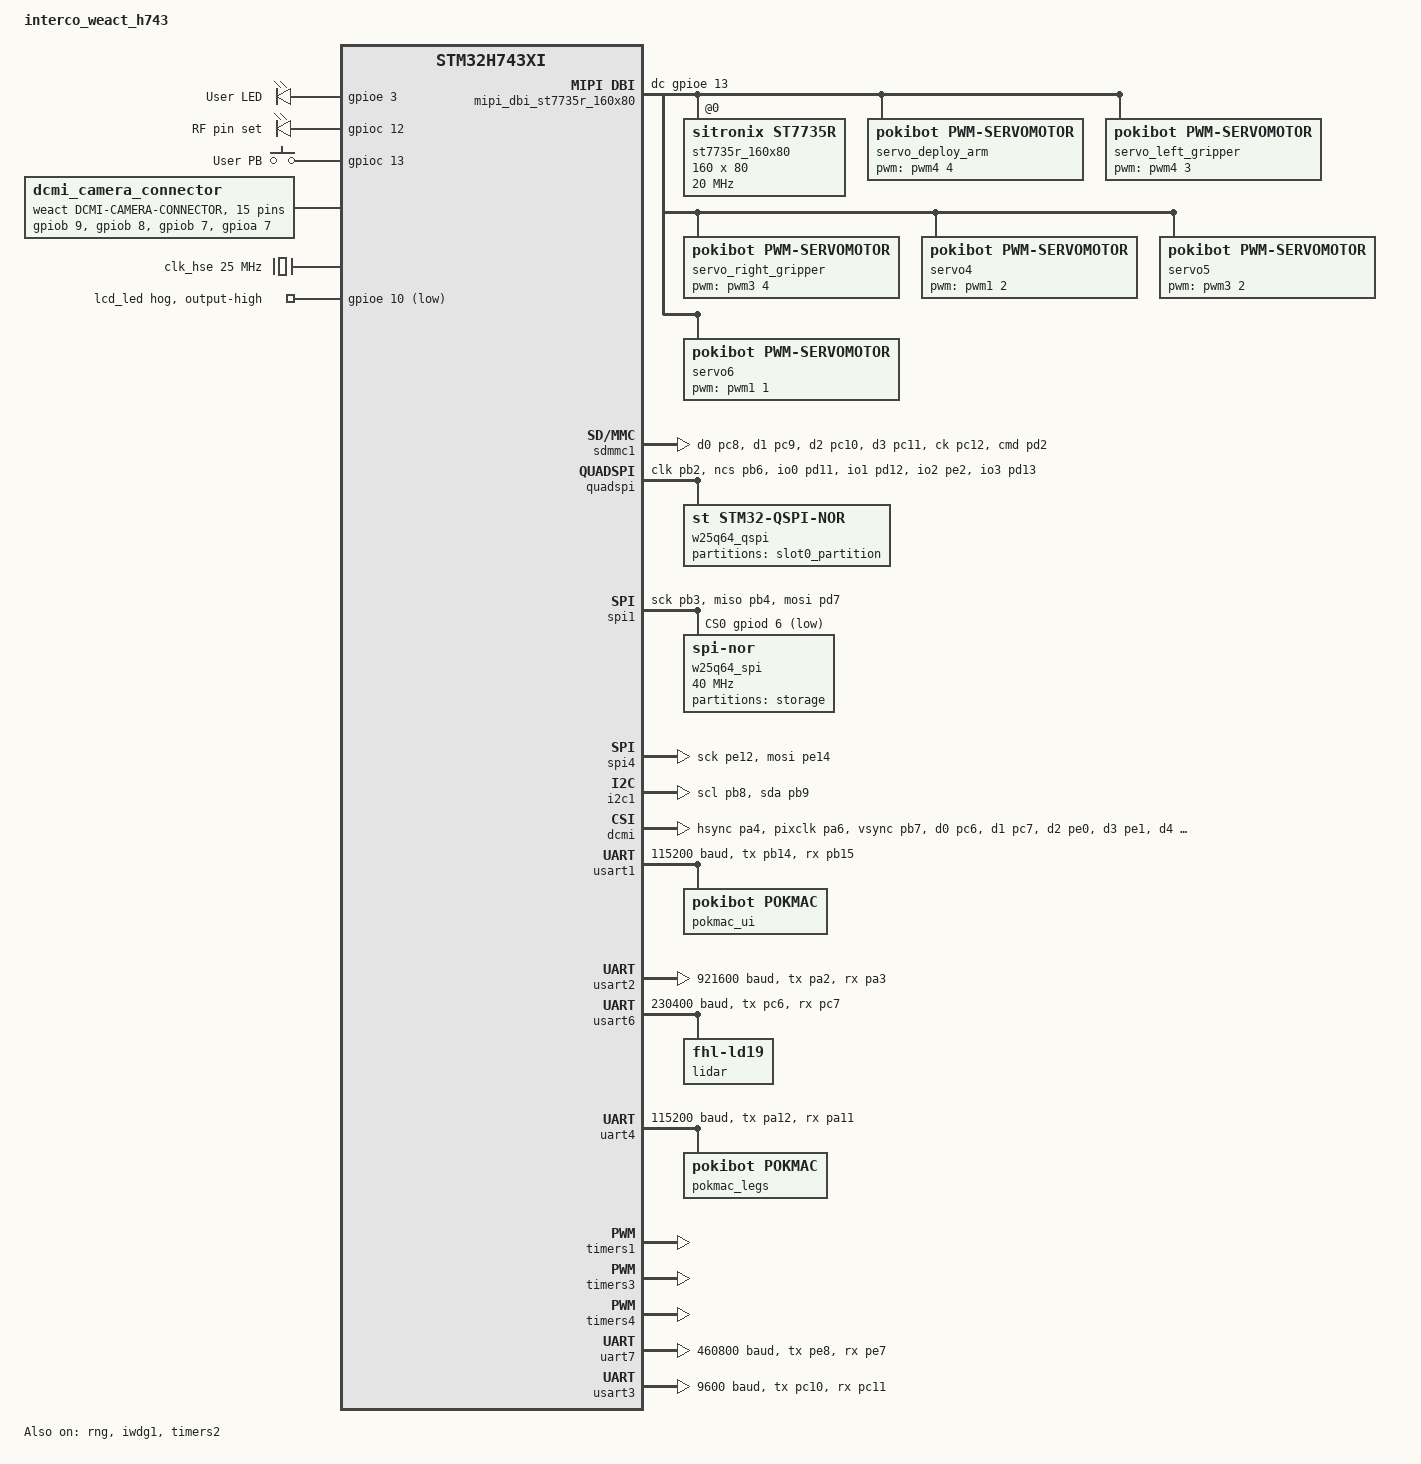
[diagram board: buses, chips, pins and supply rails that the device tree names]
/*
 * Copyright (c) 2024 Charles Dias <charlesdias.cd@outlook.com>
 *
 * SPDX-License-Identifier: Apache-2.0
 */

/dts-v1/;
#include <st/h7/stm32h743Xi.dtsi>
#include <st/h7/stm32h743vitx-pinctrl.dtsi>
#include <zephyr/dt-bindings/input/input-event-codes.h>
#include <zephyr/dt-bindings/mipi_dbi/mipi_dbi.h>

/ {
	model = "interco_weact_h743";
	compatible = "pokibot,interco_weact_h743";

	chosen {
		zephyr,sram = &sram0;
		zephyr,flash = &flash0;
		zephyr,display = &st7735r_160x80;
        pokibot,pokuicom = &pokmac_ui;
        pokibot,poklegscom = &pokmac_legs;
        zephyr,console = &usart2;
        zephyr,shell-uart = &usart2;
	};

	leds {
		compatible = "gpio-leds";
		user_led: led {
			gpios = <&gpioe 3 GPIO_ACTIVE_HIGH>;
			label = "User LED";
		};
		rf_pin_set: rf_pin_set {
			gpios = <&gpioc 12 GPIO_ACTIVE_HIGH>;
			label = "RF pin set";
		};
	};

	gpio_keys {
		compatible = "gpio-keys";
		user_button: button {
			label = "User PB";
			gpios = <&gpioc 13 (GPIO_ACTIVE_HIGH | GPIO_PULL_DOWN)>;
			zephyr,code = <INPUT_KEY_0>;
		};
	};

	mipi_dbi_st7735r_160x80 {
		compatible = "zephyr,mipi-dbi-spi";
		spi-dev = <&spi4>;
		dc-gpios = <&gpioe 13 GPIO_ACTIVE_HIGH>;
		#address-cells = <1>;
		#size-cells = <0>;

		st7735r_160x80: st7735r@0 {
			compatible = "sitronix,st7735r";
			mipi-max-frequency = <20000000>;
			mipi-mode = "MIPI_DBI_MODE_SPI_4WIRE";
			reg = <0>;
			width = <160>;
			height = <80>;
			inversion-on;
			rgb-is-inverted;
			x-offset = <1>;
			y-offset = <26>;
			pwctr1 = [A2 02 84];
			pwctr2 = [C5];
			pwctr3 = [0A 00];
			pwctr4 = [8A 2A];
			pwctr5 = [8A EE];
			invctr = <7>;
			frmctr1 = [01 2C 2D];
			frmctr2 = [01 2C 2D];
			frmctr3 = [01 2C 2D 01 2C 2D];
			vmctr1 = <14>;
			gamctrp1 = [02 1C 07 12 37 32 29 2D 29 25 2B 39 00 01 03 10];
			gamctrn1 = [03 1D 07 06 2E 2C 29 2D 2E 2E 37 3F 00 00 02 10];
			colmod = <5>;
			/* Set D3 (RGB) bit to 1. LV_COLOR_16_SWAP is enabled by default */
			madctl = <120>; /* Set to <184> to rotate the image 180 degrees. */
			caset = [00 01 00 a0];
			raset = [00 1a 00 69];
		};

        servo_deploy_arm:servo1 {
            status = "okay";
            compatible = "pokibot,pwm-servomotor";
            pwms = <&pwm4 4 PWM_MSEC(20) PWM_POLARITY_NORMAL>;
            min-pulse = <PWM_USEC(500)>;
            max-pulse = <PWM_USEC(2500)>;
            min-angle = <0>;
            max-angle = <180>;
        };

        servo_left_gripper:servo2 {
            status = "okay";
            compatible = "pokibot,pwm-servomotor";
            pwms = <&pwm4 3 PWM_MSEC(20) PWM_POLARITY_NORMAL>;
            min-pulse = <PWM_USEC(500)>;
            max-pulse = <PWM_USEC(2500)>;
            min-angle = <0>;
            max-angle = <180>;
        };

        servo_right_gripper:servo3 {
            status = "okay";
            compatible = "pokibot,pwm-servomotor";
            pwms = <&pwm3 4 PWM_MSEC(20) PWM_POLARITY_NORMAL>;
            min-pulse = <PWM_USEC(500)>;
            max-pulse = <PWM_USEC(2500)>;
            min-angle = <0>;
            max-angle = <180>;
        };

        servo4 {
            status = "okay";
            compatible = "pokibot,pwm-servomotor";
            pwms = <&pwm1 2 PWM_MSEC(20) PWM_POLARITY_NORMAL>;
            min-pulse = <PWM_USEC(500)>;
            max-pulse = <PWM_USEC(2500)>;
            min-angle = <0>;
            max-angle = <180>;
        };

        servo5 {
            status = "okay";
            compatible = "pokibot,pwm-servomotor";
            pwms = <&pwm3 2 PWM_MSEC(20) PWM_POLARITY_NORMAL>;
            min-pulse = <PWM_USEC(500)>;
            max-pulse = <PWM_USEC(2500)>;
            min-angle = <0>;
            max-angle = <180>;
        };

        servo6 {
            status = "okay";
            compatible = "pokibot,pwm-servomotor";
            pwms = <&pwm1 1 PWM_MSEC(20) PWM_POLARITY_NORMAL>;
            min-pulse = <PWM_USEC(500)>;
            max-pulse = <PWM_USEC(2500)>;
            min-angle = <0>;
            max-angle = <180>;
        };
	};

	aliases {
		led0 = &user_led;
		sw0 = &user_button;
		watchdog0 = &iwdg;
		sdhc0 = &sdmmc1;
		mainlidar = &lidar;
	};

	dcmi_camera_connector: connector_dcmi_camera {
		compatible = "weact,dcmi-camera-connector";
		#gpio-cells = <2>;
		gpio-map-mask = <0xffffffff 0xffffffc0>;
		gpio-map-pass-thru = <0 0x3f>;

		gpio-map = <3  0 &gpiob 9  0>,  /* DVP_SDA (I2C1_SDA) */
			   <5  0 &gpiob 8  0>,  /* DVP_SCL (I2C1_SCL) */
			   <7  0 &gpiob 7  0>,  /* DVP_VSYNC */
			   <8  0 &gpioa 7  0>,  /* DVP_PWDN */
			   <9  0 &gpioa 4  0>,  /* DVP_HSYNC */
			   <12 0 &gpioe 6  0>,  /* DVP_D7 */
			   <13 0 &gpioa 8  0>,  /* DVP_XCLK (RCC_MCO1) */
			   <14 0 &gpioe 5  0>,  /* DVP_D6 */
			   <16 0 &gpiod 3  0>,  /* DVP_D5 */
			   <17 0 &gpioa 6  0>,  /* DVP_PCLK */
			   <18 0 &gpioe 4  0>,  /* DVP_D4 */
			   <19 0 &gpioc 6  0>,  /* DVP_D0 */
			   <20 0 &gpioe 1  0>,  /* DVP_D3 */
			   <21 0 &gpioc 7  0>,  /* DVP_D1 */
			   <22 0 &gpioe 0  0>;  /* DVP_D2 */
	};
};

&clk_lsi {
	status = "okay";
};

&clk_hsi48 {
	status = "okay";
};

&clk_hse {
	clock-frequency = <DT_FREQ_M(25)>;
	status = "okay";
};

&pll {
	div-m = <5>;
	mul-n = <96>;
	div-p = <2>;
	div-q = <10>;
	div-r = <2>;
	clocks = <&clk_hse>;
	status = "okay";
};

&rcc {
	clocks = <&pll>;
	clock-frequency = <DT_FREQ_M(240)>;
	d1cpre = <1>;
	hpre = <2>;
	d1ppre = <1>;
	d2ppre1 = <1>;
	// NEEDED FOR LOW SPEED USART3
	// d2ppre1 = <2>;
	d2ppre2 = <1>;
	d3ppre = <1>;
};

&sdmmc1 {
	pinctrl-0 = <&sdmmc1_d0_pc8 &sdmmc1_d1_pc9
		     &sdmmc1_d2_pc10 &sdmmc1_d3_pc11
		     &sdmmc1_ck_pc12 &sdmmc1_cmd_pd2>;
	pinctrl-names = "default";
	cd-gpios = <&gpiod 4 (GPIO_ACTIVE_HIGH | GPIO_PULL_UP)>;
	status = "okay";
};

&quadspi {
	pinctrl-names = "default";
	pinctrl-0 = <&quadspi_clk_pb2 &quadspi_bk1_ncs_pb6
		&quadspi_bk1_io0_pd11 &quadspi_bk1_io1_pd12
		&quadspi_bk1_io2_pe2 &quadspi_bk1_io3_pd13>;
	flash-id = <1>;
	status = "okay";

	w25q64_qspi: qspi-nor-flash@90000000 {
		compatible = "st,stm32-qspi-nor";
		reg = <0x90000000 DT_SIZE_M(8)>; /* 64 Mbits */
		qspi-max-frequency = <40000000>;
		status = "okay";
		spi-bus-width = <4>;
		writeoc = "PP_1_1_4";

		partitions {
			compatible = "fixed-partitions";
			#address-cells = <1>;
			#size-cells = <1>;
			slot0_partition: partition@0 {
				reg = <0x00000000 DT_SIZE_M(8)>;
			};
		};
	};
};

&spi1 {
	pinctrl-0 = <&spi1_sck_pb3 &spi1_miso_pb4 &spi1_mosi_pd7>;
	cs-gpios = <&gpiod 6 GPIO_ACTIVE_LOW>;
	pinctrl-names = "default";
	status = "okay";
	w25q64_spi: spi-nor-flash@0 {
		compatible = "jedec,spi-nor";
		reg = <0>;
		spi-max-frequency = <40000000>;
		size = <DT_SIZE_M(64)>; /* 64 Mbits */
		status = "okay";
		jedec-id = [ef 40 17];
		has-dpd;
		t-enter-dpd = <3500>;
		t-exit-dpd = <3500>;
		partitions {
			compatible = "fixed-partitions";
			#address-cells = <1>;
			#size-cells = <1>;
			storage_partition: partition@0 {
				label = "storage";
				reg = <0x00000000 DT_SIZE_M(8)>;
			};
		};
	};
};

&gpioe {
	status = "okay";

	lcd_led {
		gpio-hog;
		gpios = <10 GPIO_ACTIVE_LOW>;
		output-high;
	};
};

&spi4 {
	pinctrl-0 = <&spi4_sck_pe12 &spi4_mosi_pe14>;
	cs-gpios = <&gpioe 11 GPIO_ACTIVE_LOW>;
	pinctrl-names = "default";
	status = "okay";
};

&rng {
	status = "okay";
};

&backup_sram {
	status = "okay";
};

&iwdg1 {
	status = "okay";
};

zephyr_camera_i2c: &i2c1 {
	pinctrl-0 = <&i2c1_scl_pb8 &i2c1_sda_pb9>;
	pinctrl-names = "default";
};

zephyr_camera_dvp: &dcmi {
	pinctrl-0 = <&dcmi_hsync_pa4 &dcmi_pixclk_pa6 &dcmi_vsync_pb7
		     &dcmi_d0_pc6 &dcmi_d1_pc7 &dcmi_d2_pe0 &dcmi_d3_pe1
		     &dcmi_d4_pe4 &dcmi_d5_pd3 &dcmi_d6_pe5 &dcmi_d7_pe6>;
	pinctrl-names = "default";
};

// POKIBOT

&usart1 {
    status = "okay";
    pinctrl-0 = <&usart1_tx_pb14 &usart1_rx_pb15>;
    pinctrl-names = "default";
    current-speed = <115200>;
    pokmac_ui: pokmac_ui {
        compatible = "pokibot,pokmac";
        status = "okay";
    };
};

&usart2 {
    status = "okay";
    pinctrl-0 = <&usart2_tx_pa2 &usart2_rx_pa3>;
    pinctrl-names = "default";
   	current-speed = <921600>;
};

&usart6 {
    status = "okay";
    pinctrl-0 = <&usart6_tx_pc6 &usart6_rx_pc7>;
    pinctrl-names = "default";
   	current-speed = <230400>;
    lidar: lidar {
        compatible = "zephyr,fhl-ld19";
        status = "okay";
    };
};

&uart4 {
    status = "okay";
    pinctrl-0 = <&uart4_tx_pa12 &uart4_rx_pa11>;
    pinctrl-names = "default";
    current-speed = <115200>;
    pokmac_legs: pokmac_legs {
        compatible = "pokibot,pokmac";
        status = "okay";
    };
};

&timers1 {
	status = "okay";
	st,prescaler = <100>;
	pwm1: pwm {
		status = "okay";
		pinctrl-0 = <&tim1_ch2_pa9 &tim1_ch1_pa8>;
		pinctrl-names = "default";
	};
};

&timers3 {
	status = "okay";
	st,prescaler = <100>;

	pwm3: pwm {
		status = "okay";
		pinctrl-0 = <&tim3_ch4_pc9 &tim3_ch2_pb5>;
		pinctrl-names = "default";
	};
};

&timers4 {
	status = "okay";
	st,prescaler = <100>;

	pwm4: pwm {
		status = "okay";
		pinctrl-0 = <&tim4_ch4_pd15 &tim4_ch3_pd14>;
		pinctrl-names = "default";
	};
};


&timers2 {
	status = "okay";
	st,prescaler = <100>;

	counter_stepper0: counter {
		status = "okay";
	};
};

&uart7 {
	dmas = <&dmamux1 8 80 (STM32_DMA_PERIPH_TX | STM32_DMA_PRIORITY_HIGH)>,
		<&dmamux1 0 79 (STM32_DMA_PERIPH_RX | STM32_DMA_PRIORITY_HIGH)>;
	dma-names = "tx", "rx";
	pinctrl-0 = <&uart7_tx_pe8 &uart7_rx_pe7>;
	pinctrl-names = "default";
	current-speed = <460800>;
	status = "okay";

	uart_bus {
		compatible = "zephyr,uart-bus";
		status = "okay";

		stepper_arm:stepper0 {
			compatible = "adi,tmc2209-pokibot";
			status = "okay";
			counter = <&counter_stepper0>;
			dir-gpios = <&gpioa 4 GPIO_ACTIVE_HIGH>;
			step-gpios = <&gpioa 5 GPIO_ACTIVE_HIGH>;

			address = <0>;
			micro-step-res = <256>;
			ihold = <8>;
			irun = <8>;
			iholddelay = <10>;
		};
	};
};

&timers5 {
	status = "disabled";
	st,prescaler = <100>;

	counter_stepper1: counter {
		status = "disabled";
	};
};

rf_module: &usart3 {
	pinctrl-0 = <&usart3_tx_pc10 &usart3_rx_pc11>;
	pinctrl-names = "default";
	current-speed = <9600>;
	status = "okay";
};


/*
&usart3 {
	dmas = <&dmamux1 9 42 (STM32_DMA_PERIPH_TX | STM32_DMA_PRIORITY_HIGH)>,
		<&dmamux1 1 41 (STM32_DMA_PERIPH_RX | STM32_DMA_PRIORITY_HIGH)>;
	dma-names = "tx", "rx";
	pinctrl-0 = <&usart3_tx_pb10 &usart3_rx_pb11>;
	pinctrl-names = "default";
	current-speed = <460800>;
	status = "disabled";

	uart_bus {
		compatible = "zephyr,uart-bus";
		status = "disabled";

		stepper1 {
			compatible = "adi,tmc2209-pokibot";
			status = "disabled";
			counter = <&counter_stepper1>;
			dir-gpios = <&gpioa 1 GPIO_ACTIVE_HIGH>;
			step-gpios = <&gpioa 0 GPIO_ACTIVE_HIGH>;

			address = <0>;
			micro-step-res = <256>;
			ihold = <8>;
			irun = <8>;
			iholddelay = <10>;
		};
	};
};
*/

&dma1 {
    status = "okay";
};

&dma2 {
    status = "okay";
};

&dmamux1 {
    status = "okay";
};
